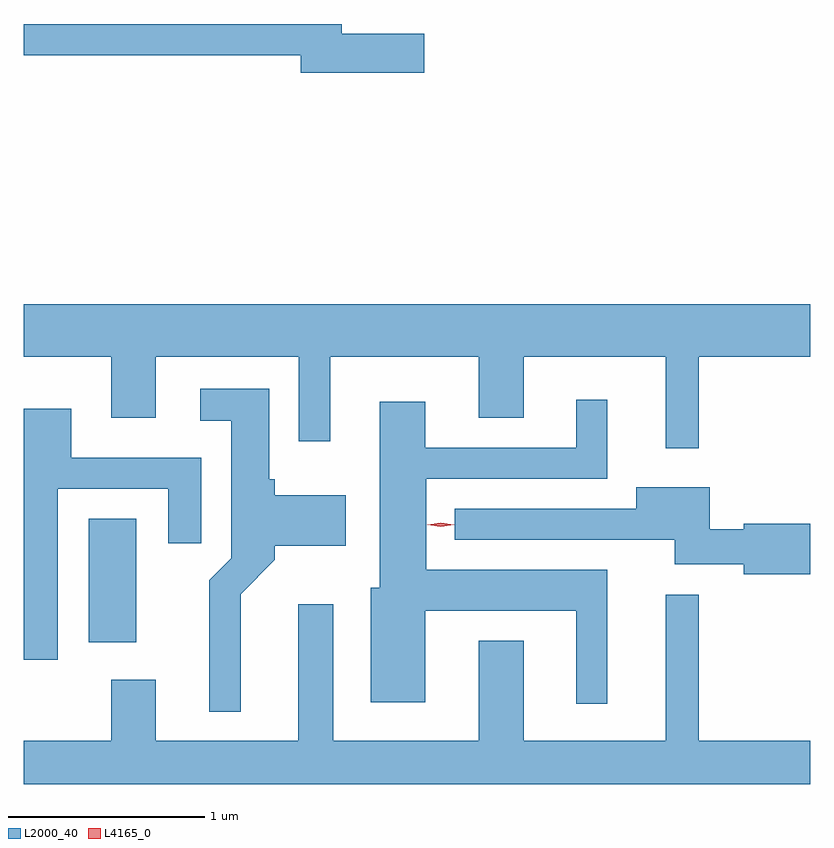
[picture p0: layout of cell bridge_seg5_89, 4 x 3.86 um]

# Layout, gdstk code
import gdstk
lib = gdstk.Library(unit=1e-6, precision=1e-09)
def R(c, l, rs):  # rectangles x0, y0, x1, y1
    for r in rs: c.add(gdstk.rectangle(r[:2], r[2:], *l))
def P(c, l, *ps):  # polygons
    for p in ps: c.add(gdstk.Polygon(p, *l))
L2000_40 = (2000, 40)
L4165_0 = (4165, 0)

bridge_seg5_89 = lib.new_cell('bridge_seg5_89')
R(bridge_seg5_89, L2000_40, [(1058.526,1462.006,1058.769,1462.634)])
P(bridge_seg5_89, L2000_40, [(1060.234,1465.099),(1059.814,1465.099),(1059.814,1465.149),(1058.196,1465.149),(1058.196,1464.991),(1059.606,1464.991),(1059.606,1464.901),(1060.234,1464.901)],
  [(1061.629,1463.456),(1062.196,1463.456),(1062.196,1463.724),(1058.196,1463.724),(1058.196,1463.456),(1058.641,1463.456),(1058.641,1463.146),(1058.869,1463.146),(1058.869,1463.456),(1059.596,1463.456),(1059.596,1463.028),(1059.754,1463.028),(1059.754,1463.456),(1060.511,1463.456),(1060.511,1463.146),(1060.739,1463.146),(1060.739,1463.456),(1061.461,1463.456),(1061.461,1462.993),(1061.629,1462.993)],
  [(1059.299,1462.249),(1059.474,1462.424),(1059.474,1462.496),(1059.834,1462.496),(1059.834,1462.754),(1059.474,1462.754),(1059.474,1462.834),(1059.444,1462.834),(1059.444,1463.294),(1059.093,1463.294),(1059.093,1463.131),(1059.251,1463.131),(1059.251,1462.432),(1059.141,1462.322),(1059.141,1461.653),(1059.299,1461.653)],
  [(1061.164,1462.374),(1060.244,1462.374),(1060.244,1462.836),(1061.164,1462.836),(1061.164,1463.238),(1061.006,1463.238),(1061.006,1462.994),(1060.239,1462.994),(1060.239,1463.229),(1060.006,1463.229),(1060.006,1462.284),(1059.961,1462.284),(1059.961,1461.701),(1060.239,1461.701),(1060.239,1462.166),(1061.006,1462.166),(1061.006,1461.693),(1061.164,1461.693)],
  [(1058.369,1462.786),(1058.931,1462.786),(1058.931,1462.508),(1059.099,1462.508),(1059.099,1462.944),(1058.439,1462.944),(1058.439,1463.194),(1058.196,1463.194),(1058.196,1461.916),(1058.369,1461.916)],
  [(1062.196,1462.609),(1061.856,1462.609),(1061.856,1462.579),(1061.684,1462.579),(1061.684,1462.794),(1061.311,1462.794),(1061.311,1462.684),(1060.388,1462.684),(1060.388,1462.526),(1061.506,1462.526),(1061.506,1462.401),(1061.856,1462.401),(1061.856,1462.351),(1062.196,1462.351)],
  [(1062.196,1461.504),(1061.629,1461.504),(1061.629,1462.248),(1061.461,1462.248),(1061.461,1461.504),(1060.739,1461.504),(1060.739,1462.014),(1060.511,1462.014),(1060.511,1461.504),(1059.769,1461.504),(1059.769,1462.199),(1059.591,1462.199),(1059.591,1461.504),(1058.869,1461.504),(1058.869,1461.814),(1058.641,1461.814),(1058.641,1461.504),(1058.196,1461.504),(1058.196,1461.285),(1062.196,1461.285)])
P(bridge_seg5_89, L4165_0, [(1060.317,1462.593),(1060.247,1462.603),(1060.247,1462.603),(1060.247,1462.604),(1060.317,1462.613),(1060.386,1462.604),(1060.386,1462.603),(1060.386,1462.603)],
  [(1060.316,1462.593),(1060.25,1462.603),(1060.25,1462.603),(1060.25,1462.604),(1060.316,1462.613),(1060.382,1462.604),(1060.383,1462.603),(1060.382,1462.603)])

lib.write_gds('bridge_seg5_89.gds')
